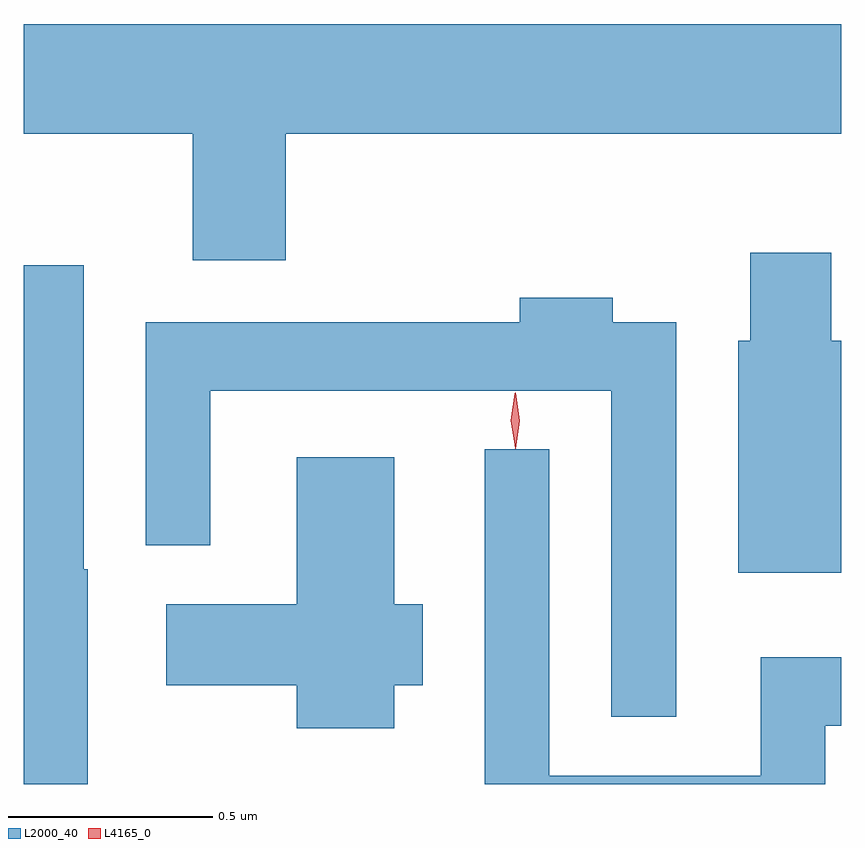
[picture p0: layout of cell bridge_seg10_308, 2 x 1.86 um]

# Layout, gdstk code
import gdstk
lib = gdstk.Library(unit=1e-6, precision=1e-09)
def P(c, l, *ps):  # polygons
    for p in ps: c.add(gdstk.Polygon(p, *l))
L2000_40 = (2000, 40)
L4165_0 = (4165, 0)

bridge_seg10_308 = lib.new_cell('bridge_seg10_308')
P(bridge_seg10_308, L2000_40, [(1444.039,2169.416),(1445.398,2169.416),(1445.398,2169.684),(1443.398,2169.684),(1443.398,2169.416),(1443.811,2169.416),(1443.811,2169.106),(1444.039,2169.106)],
  [(1445.398,2168.909),(1445.374,2168.909),(1445.374,2169.124),(1445.176,2169.124),(1445.176,2168.909),(1445.146,2168.909),(1445.146,2168.341),(1445.398,2168.341)],
  [(1443.554,2168.35),(1443.544,2168.35),(1443.544,2169.093),(1443.398,2169.093),(1443.398,2167.824),(1443.554,2167.824)],
  [(1444.994,2168.954),(1444.839,2168.954),(1444.839,2169.014),(1444.611,2169.014),(1444.611,2168.954),(1443.696,2168.954),(1443.696,2168.408),(1443.854,2168.408),(1443.854,2168.786),(1444.836,2168.786),(1444.836,2167.988),(1444.994,2167.988)],
  [(1445.359,2167.966),(1445.398,2167.966),(1445.398,2168.134),(1445.201,2168.134),(1445.201,2167.844),(1444.684,2167.844),(1444.684,2168.643),(1444.526,2168.643),(1444.526,2167.824),(1445.359,2167.824)],
  [(1444.304,2168.066),(1444.374,2168.066),(1444.374,2168.264),(1444.304,2168.264),(1444.304,2168.624),(1444.066,2168.624),(1444.066,2168.264),(1443.746,2168.264),(1443.746,2168.066),(1444.066,2168.066),(1444.066,2167.961),(1444.304,2167.961)])
P(bridge_seg10_308, L4165_0, [(1444.601,2168.644),(1444.592,2168.713),(1444.601,2168.782),(1444.602,2168.782),(1444.602,2168.782),(1444.612,2168.713),(1444.602,2168.644),(1444.602,2168.644)],
  [(1444.6,2168.647),(1444.6,2168.647),(1444.59,2168.713),(1444.599,2168.78),(1444.599,2168.78),(1444.6,2168.78),(1444.61,2168.713),(1444.601,2168.647)])

lib.write_gds('bridge_seg10_308.gds')
